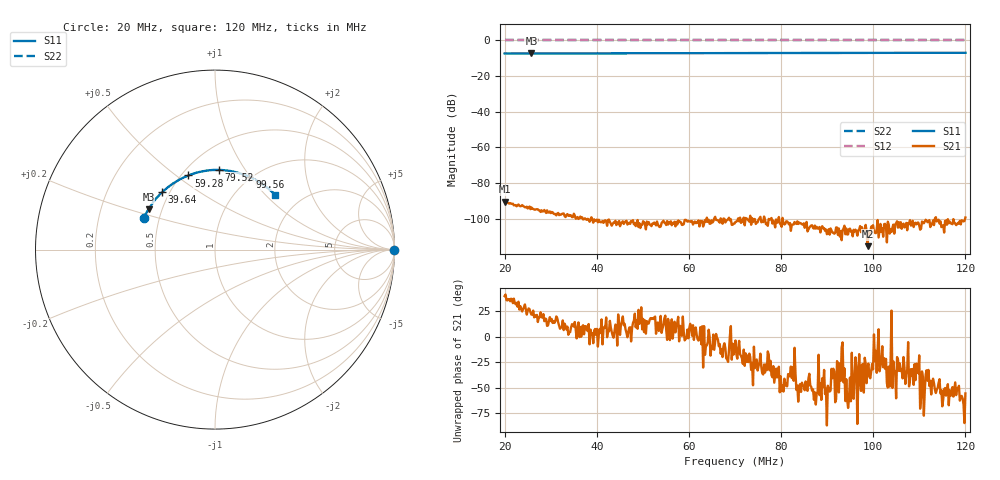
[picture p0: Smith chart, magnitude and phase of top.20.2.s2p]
! Anritsu VNA Master:  Model: MS2036C/10/77
! SN:  1601066
! /bd0/18may08.cable.cal/top.20.2.s2p
! Existing Calibration Information:
! TYPE:  Current Settings,  Active Cal Settings
! TIME:  05/08/2018 06:13:14 PM,  05/08/2018 05:57:55 PM
! INTERNAL TEMP:  49.3 C,  49.3 C
! # POINTS:  500,  500
! START FREQ:  20.000 MHz,  20.000 MHz
! STOP FREQ:  120.000 MHz,  120.000 MHz
! SOURCE POWER:  High,  High
! IFBW:  50 Hz,  50 Hz
! AVG FACTOR:  1 ,  1
! REF PLANE 1:  0 mm,  0 mm
! REF PLANE 2:  0 mm,  0 mm
! CAL TYPE:  Full S11,  Full S11
! CAL METHOD:  SOLT,  SOLT
! CAL LINE TYPE:  Coax,  Coax
! DUT PORT 1:  K-Conn(F),  K-Conn(F)
! DUT PORT 2:  K-Conn(F),  K-Conn(F)
! CAL STATUS:  OK: Accuracy High,  --
# GHZ S DB R 50.0
! FREQ.GHZ  S11DB  S11A  S21DB  S21A  S12DB  S12A  S22DB  S22A
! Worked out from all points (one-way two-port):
!   500 points, 20 MHz to 120 MHz, reference 50 ohm
!   highest |S21| = -90.49 dB at 20 MHz (marker M1); lowest = -115.4 dB at 98.76 MHz (marker M2)
!   lowest |S11| = -7.3 dB at 25.81 MHz (marker M3), VSWR 2.53, Z = 21.1 + j11.6 ohm
!   |S11| at or under -10 dB: nowhere
!   |S22| runs from 0.0 to 0.0 dB; largest |S21 - S12| = 1
!   S11 on the Smith chart (normalised r, x): 20 MHz: 0.41, +0.18; 39.64 MHz: 0.46, +0.36; 59.28 MHz: 0.54, +0.56; 79.52 MHz: 0.70, +0.77; 99.56 MHz: 0.98, +0.99; 120 MHz: 1.48, +1.14
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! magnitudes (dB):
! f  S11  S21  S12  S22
! 20 MHz  -7.3  -90.5  0.0  0.0
! 25.81 MHz  -7.3  -93.6  0.0  0.0
! 29.62 MHz  -7.3  -96.5  0.0  0.0
! 30.62 MHz  -7.3  -97.1  0.0  0.0
! 31.62 MHz  -7.2  -96.8  0.0  0.0
! 36.83 MHz  -7.2  -99.2  0.0  0.0
! 39.64 MHz  -7.2  -101.3  0.0  0.0
! 46.45 MHz  -7.2  -101.1  0.0  0.0
! 53.47 MHz  -7.2  -104.2  0.0  0.0
! 56.47 MHz  -7.2  -102.3  0.0  0.0
! 59.28 MHz  -7.2  -100.6  0.0  0.0
! 61.88 MHz  -7.1  -101.6  0.0  0.0
! 62.89 MHz  -7.1  -101.4  0.0  0.0
! 70.1 MHz  -7.1  -101.8  0.0  0.0
! 79.52 MHz  -7.0  -99.0  0.0  0.0
! 86.73 MHz  -7.0  -103.7  0.0  0.0
! 92.95 MHz  -7.0  -107.1  0.0  0.0
! 98.76 MHz  -7.0  -115.4  0.0  0.0
! 99.56 MHz  -7.0  -104.4  0.0  0.0
! 103.4 MHz  -6.9  -103.2  0.0  0.0
! 116.4 MHz  -6.9  -102.5  0.0  0.0
! 120 MHz  -6.9  -99.3  0.0  0.0
